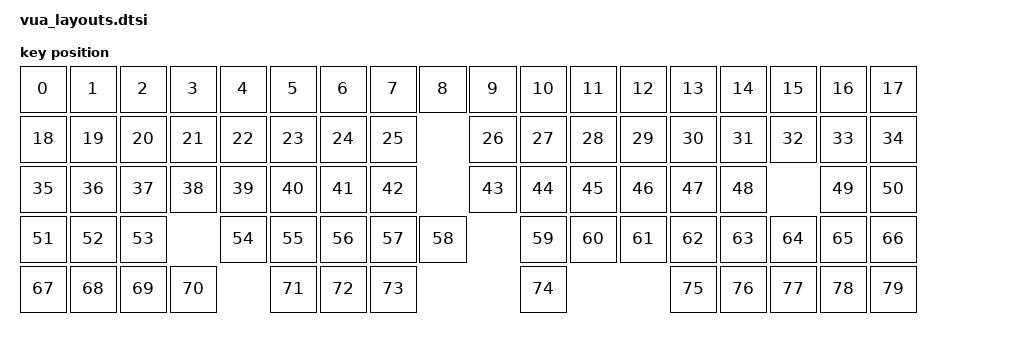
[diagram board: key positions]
#include <physical_layouts.dtsi>

 / {
    vua_layout: vua_layout {
        compatible = "zmk,physical-layout";
        display-name = "default_layout";
        transform = <&default_transform>;

        keys
            = <&key_physical_attrs 100 100   0    0    0 0 0>  /* RC(0,0) */
            , <&key_physical_attrs 100 100  100    0    0 0 0>  /* RC(0,1) */
            , <&key_physical_attrs 100 100  200    0    0 0 0>  /* RC(0,2) */
            , <&key_physical_attrs 100 100  300    0    0 0 0>  /* RC(0,3) */
            , <&key_physical_attrs 100 100  400    0    0 0 0>  /* RC(0,4) */
            , <&key_physical_attrs 100 100  500    0    0 0 0>  /* RC(0,5) */
            , <&key_physical_attrs 100 100  600    0    0 0 0>  /* RC(0,6) */
            , <&key_physical_attrs 100 100  700    0    0 0 0>  /* RC(0,7) */
            , <&key_physical_attrs 100 100  800    0    0 0 0>  /* RC(0,8) */
            , <&key_physical_attrs 100 100  900    0    0 0 0>  /* RC(0,9) */
            , <&key_physical_attrs 100 100 1000    0    0 0 0>  /* RC(0,10) */
            , <&key_physical_attrs 100 100 1100    0    0 0 0>  /* RC(0,11) */
            , <&key_physical_attrs 100 100 1200    0    0 0 0>  /* RC(0,12) */
            , <&key_physical_attrs 100 100 1300    0    0 0 0>  /* RC(0,13) */
            , <&key_physical_attrs 100 100 1400    0    0 0 0>  /* RC(0,14) */
            , <&key_physical_attrs 100 100 1500    0    0 0 0>  /* RC(0,15) */
            , <&key_physical_attrs 100 100 1600    0    0 0 0>  /* RC(0,16) */
            , <&key_physical_attrs 100 100 1700    0    0 0 0>  /* RC(0,17) */

            , <&key_physical_attrs 100 100   0  100    0 0 0>  /* RC(1,0) */
            , <&key_physical_attrs 100 100  100  100    0 0 0>  /* RC(1,1) */
            , <&key_physical_attrs 100 100  200  100    0 0 0>  /* RC(1,2) */
            , <&key_physical_attrs 100 100  300  100    0 0 0>  /* RC(1,3) */
            , <&key_physical_attrs 100 100  400  100    0 0 0>  /* RC(1,4) */
            , <&key_physical_attrs 100 100  500  100    0 0 0>  /* RC(1,5) */
            , <&key_physical_attrs 100 100  600  100    0 0 0>  /* RC(1,6) */
            , <&key_physical_attrs 100 100  700  100    0 0 0>  /* RC(1,7) */
            /* skip RC(1,8) */
            , <&key_physical_attrs 100 100  900  100    0 0 0>  /* RC(1,9) */
            , <&key_physical_attrs 100 100 1000  100    0 0 0>  /* RC(1,10) */
            , <&key_physical_attrs 100 100 1100  100    0 0 0>  /* RC(1,11) */
            , <&key_physical_attrs 100 100 1200  100    0 0 0>  /* RC(1,12) */
            , <&key_physical_attrs 100 100 1300  100    0 0 0>  /* RC(1,13) */
            , <&key_physical_attrs 100 100 1400  100    0 0 0>  /* RC(1,14) */
            , <&key_physical_attrs 100 100 1500  100    0 0 0>  /* RC(1,15) */
            , <&key_physical_attrs 100 100 1600  100    0 0 0>  /* RC(1,16) */
            , <&key_physical_attrs 100 100 1700  100    0 0 0>  /* RC(1,17) */

            , <&key_physical_attrs 100 100   0  200    0 0 0>  /* RC(2,0) */
            , <&key_physical_attrs 100 100  100  200    0 0 0>  /* RC(2,1) */
            , <&key_physical_attrs 100 100  200  200    0 0 0>  /* RC(2,2) */
            , <&key_physical_attrs 100 100  300  200    0 0 0>  /* RC(2,3) */
            , <&key_physical_attrs 100 100  400  200    0 0 0>  /* RC(2,4) */
            , <&key_physical_attrs 100 100  500  200    0 0 0>  /* RC(2,5) */
            , <&key_physical_attrs 100 100  600  200    0 0 0>  /* RC(2,6) */
            , <&key_physical_attrs 100 100  700  200    0 0 0>  /* RC(2,7) */
            /* skip RC(2,8) */
            , <&key_physical_attrs 100 100  900  200    0 0 0>  /* RC(2,9) */
            , <&key_physical_attrs 100 100 1000  200    0 0 0>  /* RC(2,10) */
            , <&key_physical_attrs 100 100 1100  200    0 0 0>  /* RC(2,11) */
            , <&key_physical_attrs 100 100 1200  200    0 0 0>  /* RC(2,12) */
            , <&key_physical_attrs 100 100 1300  200    0 0 0>  /* RC(2,13) */
            , <&key_physical_attrs 100 100 1400  200    0 0 0>  /* RC(2,14) */
            /* skip RC(2,15) */
            , <&key_physical_attrs 100 100 1600  200    0 0 0>  /* RC(2,16) */
            , <&key_physical_attrs 100 100 1700  200    0 0 0>  /* RC(2,17) */

            , <&key_physical_attrs 100 100   0  300    0 0 0>  /* RC(3,0) */
            , <&key_physical_attrs 100 100  100  300    0 0 0>  /* RC(3,1) */
            , <&key_physical_attrs 100 100  200  300    0 0 0>  /* RC(3,2) */
            /* skip RC(3,3) */
            , <&key_physical_attrs 100 100  400  300    0 0 0>  /* RC(3,4) */
            , <&key_physical_attrs 100 100  500  300    0 0 0>  /* RC(3,5) */
            , <&key_physical_attrs 100 100  600  300    0 0 0>  /* RC(3,6) */
            , <&key_physical_attrs 100 100  700  300    0 0 0>  /* RC(3,7) */
            , <&key_physical_attrs 100 100  800  300    0 0 0>  /* RC(3,8) */
            /* skip RC(3,9) */
            , <&key_physical_attrs 100 100 1000  300    0 0 0>  /* RC(3,10) */
            , <&key_physical_attrs 100 100 1100  300    0 0 0>  /* RC(3,11) */
            , <&key_physical_attrs 100 100 1200  300    0 0 0>  /* RC(3,12) */
            , <&key_physical_attrs 100 100 1300  300    0 0 0>  /* RC(3,13) */
            , <&key_physical_attrs 100 100 1400  300    0 0 0>  /* RC(3,14) */
            , <&key_physical_attrs 100 100 1500  300    0 0 0>  /* RC(3,15) */
            , <&key_physical_attrs 100 100 1600  300    0 0 0>  /* RC(3,16) */
            , <&key_physical_attrs 100 100 1700  300    0 0 0>  /* RC(3,17) */

            , <&key_physical_attrs 100 100   0  400    0 0 0>  /* RC(4,0) */
            , <&key_physical_attrs 100 100  100  400    0 0 0>  /* RC(4,1) */
            , <&key_physical_attrs 100 100  200  400    0 0 0>  /* RC(4,2) */
            , <&key_physical_attrs 100 100  300  400    0 0 0>  /* RC(4,3) */
            /* skip RC(4,4) */
            , <&key_physical_attrs 100 100  500  400    0 0 0>  /* RC(4,5) */
            , <&key_physical_attrs 100 100  600  400    0 0 0>  /* RC(4,6) */
            , <&key_physical_attrs 100 100  700  400    0 0 0>  /* RC(4,7) */
            /* skip RC(4,8) */
            , <&key_physical_attrs 100 100 1000  400    0 0 0>  /* RC(4,10) */
            /* skip RC(4,11) */
            /* skip RC(4,12) */
            , <&key_physical_attrs 100 100 1300  400    0 0 0>  /* RC(4,13) */
            , <&key_physical_attrs 100 100 1400  400    0 0 0>  /* RC(4,14) */
            , <&key_physical_attrs 100 100 1500  400    0 0 0>  /* RC(4,15) */
            , <&key_physical_attrs 100 100 1600  400    0 0 0>  /* RC(4,16) */
            , <&key_physical_attrs 100 100 1700  400    0 0 0>  /* RC(4,17) */
            ;
    };
};
